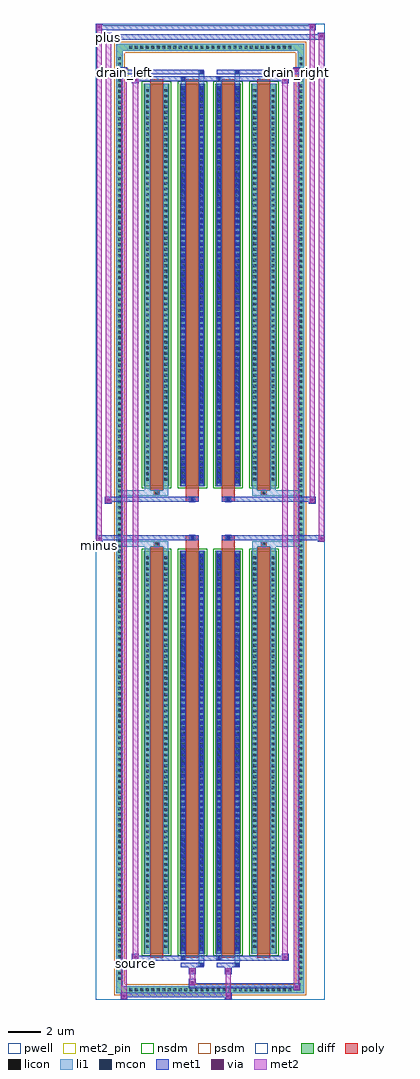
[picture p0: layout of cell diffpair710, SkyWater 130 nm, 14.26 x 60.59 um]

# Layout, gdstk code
import gdstk
lib = gdstk.Library(unit=1e-6, precision=5e-09)
def R(c, l, rs):  # rectangles x0, y0, x1, y1
    for r in rs: c.add(gdstk.rectangle(r[:2], r[2:], *l))
def A(c, l, x, y, w, h, nx, ny, dx, dy):  # array of equal rectangles
    R(c, l, [(x+i*dx, y+j*dy, x+i*dx+w, y+j*dy+h) for i in range(nx) for j in range(ny)])
def P(c, l, *ps):  # polygons
    for p in ps: c.add(gdstk.Polygon(p, *l))
pwell = (64, 44)
diff = (65, 20)
poly = (66, 20)
licon = (66, 44)
li1 = (67, 20)
mcon = (67, 44)
met1 = (68, 20)
via = (68, 44)
met2_pin = (69, 16)
met2 = (69, 20)
nsdm = (93, 44)
psdm = (94, 20)
npc = (95, 20)

diffpair710 = lib.new_cell('diffpair710')
R(diffpair710, pwell, [(-7.11,-29.86,7.11,30.73), (-4.43,-28.05,-0.01,-0.825), (0.01,-28.05,4.43,-0.825), (-4.43,0.825,-0.01,28.05), (0.01,0.825,4.43,28.05)])
A(diffpair710, diff, -5.135, -29.46, 0.41, 0.41, 30, 2, 0.34, 58.51)
A(diffpair710, diff, -5.84, -28.765, 0.41, 0.41, 1, 169, 0, 0.34)
A(diffpair710, diff, 5.43, -28.765, 0.41, 0.41, 1, 169, 0, 0.34)
A(diffpair710, diff, -4.12, -27.005, 1.58, 25, 4, 2, 2.22, 29.01)
R(diffpair710, diff, [(-5.135,-29.46,5.135,-29.05), (-5.84,-28.765,-5.43,28.765), (5.43,-28.765,5.84,28.765), (-5.135,29.05,5.135,29.46)])
P(diffpair710, diff, [(5.84,29.46),(-5.84,29.46),(-5.84,-29.05),(-5.43,-29.05),(-5.43,29.05),(5.43,29.05),(5.43,-29.05),(-5.43,-29.05),(-5.84,-29.05),(-5.84,-29.46),(5.84,-29.46)])
A(diffpair710, poly, -3.73, -27.255, 0.8, 25.5, 4, 2, 2.22, 29.01)
R(diffpair710, poly, [(-3.495,-1.755,-3.165,-1.425), (-3.495,-1.755,-3.165,-1.425), (-1.51,-1.755,-0.71,-1.355), (0.71,-1.755,1.51,-1.355), (3.165,-1.755,3.495,-1.425), (3.165,-1.755,3.495,-1.425), (-1.51,-1.355,-0.71,-1.025), (-1.275,-1.355,-0.945,-1.025), (0.71,-1.355,1.51,-1.025), (0.945,-1.355,1.275,-1.025), (-1.51,1.025,-0.71,1.355), (-1.275,1.025,-0.945,1.355), (0.71,1.025,1.51,1.355), (0.945,1.025,1.275,1.355), (-1.51,1.355,-0.71,1.755), (0.71,1.355,1.51,1.755), (-3.495,1.425,-3.165,1.755), (-3.495,1.425,-3.165,1.755), (3.165,1.425,3.495,1.755), (3.165,1.425,3.495,1.755)])
A(diffpair710, licon, -5.015, -29.34, 0.17, 0.17, 30, 2, 0.34, 58.51)
A(diffpair710, licon, -5.72, -28.645, 0.17, 0.17, 1, 169, 0, 0.34)
A(diffpair710, licon, 5.55, -28.645, 0.17, 0.17, 1, 169, 0, 0.34)
A(diffpair710, licon, -3.98, -26.66, 0.17, 0.17, 1, 72, 0, 0.34)
A(diffpair710, licon, -2.85, -26.66, 0.17, 0.17, 1, 72, 0, 0.34)
A(diffpair710, licon, -1.76, -26.66, 0.17, 0.17, 1, 72, 0, 0.34)
A(diffpair710, licon, -0.63, -26.66, 0.17, 0.17, 1, 72, 0, 0.34)
A(diffpair710, licon, 0.46, -26.66, 0.17, 0.17, 1, 72, 0, 0.34)
A(diffpair710, licon, 1.59, -26.66, 0.17, 0.17, 1, 72, 0, 0.34)
A(diffpair710, licon, 2.68, -26.66, 0.17, 0.17, 1, 72, 0, 0.34)
A(diffpair710, licon, 3.81, -26.66, 0.17, 0.17, 1, 72, 0, 0.34)
A(diffpair710, licon, -3.98, 2.35, 0.17, 0.17, 1, 72, 0, 0.34)
A(diffpair710, licon, -2.85, 2.35, 0.17, 0.17, 1, 72, 0, 0.34)
A(diffpair710, licon, -1.76, 2.35, 0.17, 0.17, 1, 72, 0, 0.34)
A(diffpair710, licon, -0.63, 2.35, 0.17, 0.17, 1, 72, 0, 0.34)
A(diffpair710, licon, 0.46, 2.35, 0.17, 0.17, 1, 72, 0, 0.34)
A(diffpair710, licon, 1.59, 2.35, 0.17, 0.17, 1, 72, 0, 0.34)
A(diffpair710, licon, 2.68, 2.35, 0.17, 0.17, 1, 72, 0, 0.34)
A(diffpair710, licon, 3.81, 2.35, 0.17, 0.17, 1, 72, 0, 0.34)
R(diffpair710, licon, [(-3.415,-1.675,-3.245,-1.505), (3.245,-1.675,3.415,-1.505), (-1.195,-1.275,-1.025,-1.105), (1.025,-1.275,1.195,-1.105), (-1.195,1.105,-1.025,1.275), (1.025,1.105,1.195,1.275), (-3.415,1.505,-3.245,1.675), (3.245,1.505,3.415,1.675)])
A(diffpair710, li1, -5.095, -29.42, 0.33, 0.33, 30, 2, 0.34, 58.51)
A(diffpair710, li1, -5.8, -28.725, 0.33, 0.33, 1, 169, 0, 0.34)
A(diffpair710, li1, 5.47, -28.725, 0.33, 0.33, 1, 169, 0, 0.34)
A(diffpair710, li1, -1.76, -26.83, 0.17, 0.17, 1, 69, 0, 0.36)
A(diffpair710, li1, -0.63, -26.83, 0.17, 0.17, 1, 69, 0, 0.36)
A(diffpair710, li1, 0.46, -26.83, 0.17, 0.17, 1, 69, 0, 0.36)
A(diffpair710, li1, 1.59, -26.83, 0.17, 0.17, 1, 69, 0, 0.36)
A(diffpair710, li1, -4.06, -26.74, 0.33, 0.33, 1, 72, 0, 0.34)
A(diffpair710, li1, -2.93, -26.74, 0.33, 0.33, 1, 72, 0, 0.34)
A(diffpair710, li1, -1.84, -26.74, 0.33, 0.33, 1, 72, 0, 0.34)
A(diffpair710, li1, -0.71, -26.74, 0.33, 0.33, 1, 72, 0, 0.34)
A(diffpair710, li1, 0.38, -26.74, 0.33, 0.33, 1, 72, 0, 0.34)
A(diffpair710, li1, 1.51, -26.74, 0.33, 0.33, 1, 72, 0, 0.34)
A(diffpair710, li1, 2.6, -26.74, 0.33, 0.33, 1, 72, 0, 0.34)
A(diffpair710, li1, 3.73, -26.74, 0.33, 0.33, 1, 72, 0, 0.34)
A(diffpair710, li1, -1.76, 2.18, 0.17, 0.17, 1, 69, 0, 0.36)
A(diffpair710, li1, -0.63, 2.18, 0.17, 0.17, 1, 69, 0, 0.36)
A(diffpair710, li1, 0.46, 2.18, 0.17, 0.17, 1, 69, 0, 0.36)
A(diffpair710, li1, 1.59, 2.18, 0.17, 0.17, 1, 69, 0, 0.36)
A(diffpair710, li1, -4.06, 2.27, 0.33, 0.33, 1, 72, 0, 0.34)
A(diffpair710, li1, -2.93, 2.27, 0.33, 0.33, 1, 72, 0, 0.34)
A(diffpair710, li1, -1.84, 2.27, 0.33, 0.33, 1, 72, 0, 0.34)
A(diffpair710, li1, -0.71, 2.27, 0.33, 0.33, 1, 72, 0, 0.34)
A(diffpair710, li1, 0.38, 2.27, 0.33, 0.33, 1, 72, 0, 0.34)
A(diffpair710, li1, 1.51, 2.27, 0.33, 0.33, 1, 72, 0, 0.34)
A(diffpair710, li1, 2.6, 2.27, 0.33, 0.33, 1, 72, 0, 0.34)
A(diffpair710, li1, 3.73, 2.27, 0.33, 0.33, 1, 72, 0, 0.34)
R(diffpair710, li1, [(-5.84,-29.46,-5.43,-29.05), (-5.84,-29.46,-5.43,-29.05), (-5.43,-29.46,5.43,-29.05), (5.43,-29.46,5.84,-29.05), (5.43,-29.46,5.84,-29.05), (-5.84,-29.05,-5.43,29.05), (5.43,-29.05,5.84,29.05), (-0.71,-27.81,-0.38,-27.005), (-0.63,-27.81,-0.46,-27.64), (1.51,-27.81,1.84,-27.005), (1.59,-27.81,1.76,-27.64), (-1.84,-27.38,-1.51,-27.005), (-1.76,-27.38,-1.59,-27.21), (0.38,-27.38,0.71,-27.005), (0.46,-27.38,0.63,-27.21), (-4.06,-27.005,-3.73,-2.005), (-2.93,-27.005,-2.6,-2.005), (-1.84,-27.005,-1.51,-2.005), (-0.71,-27.005,-0.38,-2.005), (0.38,-27.005,0.71,-2.005), (1.51,-27.005,1.84,-2.005), (2.6,-27.005,2.93,-2.005), (3.73,-27.005,4.06,-2.005), (-1.76,-26.83,-1.59,-2.18), (-0.63,-26.83,-0.46,-2.18), (0.46,-26.83,0.63,-2.18), (1.59,-26.83,1.76,-2.18), (-4.06,-2.005,-3.73,-1.425), (-2.93,-2.005,-2.6,-1.425), (2.6,-2.005,2.93,-1.425), (3.73,-2.005,4.06,-1.425), (-5.84,-1.755,-3.495,-1.425), (-4.06,-1.755,-3.495,-1.425), (-3.495,-1.755,-3.165,-1.425), (-3.165,-1.755,-2.6,-1.425), (2.6,-1.755,3.165,-1.425), (3.165,-1.755,3.495,-1.425), (3.165,-1.755,5.84,-1.425), (3.495,-1.755,4.06,-1.425), (-1.275,-1.355,-0.945,-1.025), (0.945,-1.355,1.275,-1.025), (-1.275,1.025,-0.945,1.355), (0.945,1.025,1.275,1.355), (-5.84,1.425,-3.495,1.755), (-4.06,1.425,-3.495,1.755), (-4.06,1.425,-3.73,2.005), (-3.495,1.425,-3.165,1.755), (-3.165,1.425,-2.6,1.755), (-2.93,1.425,-2.6,2.005), (2.6,1.425,3.165,1.755), (2.6,1.425,2.93,2.005), (3.165,1.425,3.495,1.755), (3.165,1.425,5.84,1.755), (3.495,1.425,4.06,1.755), (3.73,1.425,4.06,2.005), (-4.06,2.005,-3.73,27.005), (-2.93,2.005,-2.6,27.005), (-1.84,2.005,-1.51,27.005), (-0.71,2.005,-0.38,27.005), (0.38,2.005,0.71,27.005), (1.51,2.005,1.84,27.005), (2.6,2.005,2.93,27.005), (3.73,2.005,4.06,27.005), (-1.76,2.18,-1.59,26.83), (-0.63,2.18,-0.46,26.83), (0.46,2.18,0.63,26.83), (1.59,2.18,1.76,26.83), (-1.84,27.005,-1.51,27.38), (-0.71,27.005,-0.38,27.81), (0.38,27.005,0.71,27.38), (1.51,27.005,1.84,27.81), (-1.76,27.21,-1.59,27.38), (0.46,27.21,0.63,27.38), (-0.63,27.64,-0.46,27.81), (1.59,27.64,1.76,27.81), (-5.84,29.05,-5.43,29.46), (-5.84,29.05,-5.43,29.46), (-5.43,29.05,5.43,29.46), (5.43,29.05,5.84,29.46), (5.43,29.05,5.84,29.46)])
A(diffpair710, mcon, -1.76, -26.83, 0.17, 0.17, 1, 69, 0, 0.36)
A(diffpair710, mcon, -0.63, -26.83, 0.17, 0.17, 1, 69, 0, 0.36)
A(diffpair710, mcon, 0.46, -26.83, 0.17, 0.17, 1, 69, 0, 0.36)
A(diffpair710, mcon, 1.59, -26.83, 0.17, 0.17, 1, 69, 0, 0.36)
A(diffpair710, mcon, -1.76, 2.18, 0.17, 0.17, 1, 69, 0, 0.36)
A(diffpair710, mcon, -0.63, 2.18, 0.17, 0.17, 1, 69, 0, 0.36)
A(diffpair710, mcon, 0.46, 2.18, 0.17, 0.17, 1, 69, 0, 0.36)
A(diffpair710, mcon, 1.59, 2.18, 0.17, 0.17, 1, 69, 0, 0.36)
R(diffpair710, mcon, [(-0.63,-27.81,-0.46,-27.64), (1.59,-27.81,1.76,-27.64), (-1.76,-27.38,-1.59,-27.21), (0.46,-27.38,0.63,-27.21), (-1.195,-1.275,-1.025,-1.105), (1.025,-1.275,1.195,-1.105), (-1.195,1.105,-1.025,1.275), (1.025,1.105,1.195,1.275), (-1.76,27.21,-1.59,27.38), (0.46,27.21,0.63,27.38), (-0.63,27.64,-0.46,27.81), (1.59,27.64,1.76,27.81)])
A(diffpair710, met1, -1.82, -26.89, 0.29, 0.29, 1, 69, 0, 0.36)
A(diffpair710, met1, -0.69, -26.89, 0.29, 0.29, 1, 69, 0, 0.36)
A(diffpair710, met1, 0.4, -26.89, 0.29, 0.29, 1, 69, 0, 0.36)
A(diffpair710, met1, 1.53, -26.89, 0.29, 0.29, 1, 69, 0, 0.36)
A(diffpair710, met1, -1.82, 2.12, 0.29, 0.29, 1, 69, 0, 0.36)
A(diffpair710, met1, -0.69, 2.12, 0.29, 0.29, 1, 69, 0, 0.36)
A(diffpair710, met1, 0.4, 2.12, 0.29, 0.29, 1, 69, 0, 0.36)
A(diffpair710, met1, 1.53, 2.12, 0.29, 0.29, 1, 69, 0, 0.36)
R(diffpair710, met1, [(-5.57,-29.86,-5.14,-29.43), (0.895,-29.86,1.325,-29.43), (-5.57,-29.72,1.325,-29.43), (5.14,-29.29,5.57,-28.86), (-1.325,-29.15,5.57,-28.86), (-1.325,-29.01,-0.895,-28.58), (-1.325,-28.3,-0.895,-27.87), (0.895,-28.3,1.325,-27.87), (-1.82,-27.87,-0.4,-27.58), (-0.69,-27.87,-0.4,-27.58), (0.4,-27.87,1.82,-27.58), (1.53,-27.87,1.82,-27.58), (-4.86,-27.44,-4.43,-27.01), (-4.86,-27.44,-1.82,-27.15), (-1.82,-27.44,-1.53,-27.15), (-1.82,-27.44,-0.4,-27.15), (-0.4,-27.44,0.4,-27.15), (0.4,-27.44,0.69,-27.15), (0.4,-27.44,1.82,-27.15), (1.82,-27.44,4.86,-27.15), (4.43,-27.44,4.86,-27.01), (-1.82,-27.005,-1.53,-2.005), (-0.69,-27.005,-0.4,-2.005), (0.4,-27.005,0.69,-2.005), (1.53,-27.005,1.82,-2.005), (-7.11,-1.455,-6.68,-1.025), (6.68,-1.455,7.11,-1.025), (-7.11,-1.355,-0.71,-1.025), (-1.51,-1.355,-0.71,-1.025), (0.71,-1.355,1.51,-1.025), (0.71,-1.355,7.11,-1.025), (-1.255,-1.335,-0.965,-1.045), (0.965,-1.335,1.255,-1.045), (-6.54,0.925,-6.11,1.355), (6.11,0.925,6.54,1.355), (-6.54,1.025,-1.51,1.355), (-1.51,1.025,-0.71,1.355), (0.71,1.025,1.51,1.355), (1.51,1.025,6.54,1.355), (-1.255,1.045,-0.965,1.335), (0.965,1.045,1.255,1.335), (-1.82,2.005,-1.53,27.005), (-0.69,2.005,-0.4,27.005), (0.4,2.005,0.69,27.005), (1.53,2.005,1.82,27.005), (-4.86,27.01,-4.43,27.44), (4.43,27.01,4.86,27.44), (-4.86,27.15,-1.82,27.44), (-1.82,27.15,-1.53,27.44), (-1.82,27.15,-0.4,27.44), (-0.4,27.15,0.4,27.44), (0.4,27.15,0.69,27.44), (0.4,27.15,1.82,27.44), (1.82,27.15,4.86,27.44), (-5.57,27.58,-5.14,28.01), (-5.57,27.58,-1.82,27.87), (-1.82,27.58,-0.4,27.87), (-0.69,27.58,-0.4,27.87), (0.4,27.58,1.82,27.87), (1.53,27.58,1.82,27.87), (1.82,27.58,5.57,27.87), (5.14,27.58,5.57,28.01), (-6.54,29.73,-6.11,30.16), (-6.54,29.73,-4.43,30.06), (-4.43,29.73,4.43,30.06), (4.43,29.73,7.11,30.06), (6.68,29.73,7.11,30.16), (-7.11,30.3,-6.68,30.73), (-7.11,30.3,-4.43,30.63), (-4.43,30.3,4.43,30.63), (4.43,30.3,6.54,30.63), (6.11,30.3,6.54,30.73)])
R(diffpair710, via, [(-5.43,-29.72,-5.28,-29.57), (1.035,-29.72,1.185,-29.57), (5.28,-29.15,5.43,-29), (-1.185,-28.87,-1.035,-28.72), (-1.185,-28.16,-1.035,-28.01), (1.035,-28.16,1.185,-28.01), (-4.72,-27.3,-4.57,-27.15), (4.57,-27.3,4.72,-27.15), (-6.97,-1.315,-6.82,-1.165), (6.82,-1.315,6.97,-1.165), (-6.4,1.065,-6.25,1.215), (6.25,1.065,6.4,1.215), (-4.72,27.15,-4.57,27.3), (4.57,27.15,4.72,27.3), (-5.43,27.72,-5.28,27.87), (5.28,27.72,5.43,27.87), (-6.4,29.87,-6.25,30.02), (6.82,29.87,6.97,30.02), (-6.97,30.44,-6.82,30.59), (6.25,30.44,6.4,30.59)])
R(diffpair710, met2_pin, [(-4.895,-27.89,-4.395,-27.39), (-7.145,-1.905,-6.645,-1.405), (-5.605,27.46,-5.105,27.96), (5.105,27.46,5.605,27.96), (-6.575,29.61,-6.075,30.11)])
R(diffpair710, met2, [(-5.52,-29.81,-5.19,-29.48), (-5.52,-29.81,-5.19,27.96), (0.945,-29.81,1.275,-29.48), (0.945,-29.48,1.275,-28.25), (5.19,-29.24,5.52,-28.91), (5.19,-29.24,5.52,27.96), (-1.275,-28.96,-0.945,-28.63), (-1.275,-28.63,-0.945,-28.25), (-1.275,-28.25,-0.945,-27.92), (0.945,-28.25,1.275,-27.92), (-4.81,-27.39,-4.48,-27.06), (-4.81,-27.39,-4.48,27.39), (4.48,-27.39,4.81,-27.06), (4.48,-27.39,4.81,27.39), (-7.06,-1.405,-6.73,-1.075), (-7.06,-1.405,-6.73,30.68), (6.73,-1.405,7.06,-1.075), (6.73,-1.405,7.06,30.11), (-6.49,0.975,-6.16,1.305), (-6.49,0.975,-6.16,30.11), (6.16,0.975,6.49,1.305), (6.16,0.975,6.49,30.68), (-4.81,27.06,-4.48,27.39), (4.48,27.06,4.81,27.39), (-5.52,27.63,-5.19,27.96), (5.19,27.63,5.52,27.96), (-6.49,29.78,-6.16,30.11), (6.73,29.78,7.06,30.11), (-7.06,30.35,-6.73,30.68), (6.16,30.35,6.49,30.68)])
P(diffpair710, met2, [(7.06,-1.405),(7.06,-1.405),(7.06,-1.075),(7.06,-1.075)],
  [(7.06,29.78),(7.06,29.78),(7.06,30.11),(7.06,30.11)],
  [(-6.73,-1.405),(-6.73,-1.405),(-6.73,-1.075),(-6.73,-1.075)],
  [(-6.73,30.35),(-6.73,30.35),(-6.73,30.68),(-6.73,30.68)],
  [(6.49,0.975),(6.49,0.975),(6.49,1.305),(6.49,1.305)],
  [(6.49,30.35),(6.49,30.35),(6.49,30.68),(6.49,30.68)],
  [(-6.16,0.975),(-6.16,0.975),(-6.16,1.305),(-6.16,1.305)],
  [(-6.16,29.78),(-6.16,29.78),(-6.16,30.11),(-6.16,30.11)],
  [(-5.19,-29.81),(-5.19,-29.81),(-5.19,-29.48),(-5.19,-29.48)],
  [(-5.19,27.63),(-5.19,27.63),(-5.19,27.96),(-5.19,27.96)],
  [(5.52,-29.24),(5.52,-29.24),(5.52,-28.91),(5.52,-28.91)],
  [(5.52,27.63),(5.52,27.63),(5.52,27.96),(5.52,27.96)],
  [(-4.48,-27.39),(-4.48,-27.39),(-4.48,-27.06),(-4.48,-27.06)],
  [(-4.48,27.06),(-4.48,27.06),(-4.48,27.39),(-4.48,27.39)],
  [(4.81,-27.39),(4.81,-27.39),(4.81,-27.06),(4.81,-27.06)],
  [(4.81,27.06),(4.81,27.06),(4.81,27.39),(4.81,27.39)])
A(diffpair710, nsdm, -4.25, -27.135, 1.84, 25.26, 4, 2, 2.22, 29.01)
P(diffpair710, psdm, [(5.97,29.59),(-5.97,29.59),(-5.97,-28.92),(-5.3,-28.92),(-5.3,28.92),(5.3,28.92),(5.3,-28.92),(-5.3,-28.92),(-5.97,-28.92),(-5.97,-29.59),(5.97,-29.59)])
R(diffpair710, npc, [(-3.515,-1.775,-3.145,-1.405), (3.145,-1.775,3.515,-1.405), (-1.295,-1.375,-0.925,-1.005), (0.925,-1.375,1.295,-1.005), (-1.295,1.005,-0.925,1.375), (0.925,1.005,1.295,1.375), (-3.515,1.405,-3.145,1.775), (3.145,1.405,3.515,1.775)])
diffpair710.add(gdstk.Label('minus', (-6.895,-1.655), layer=69, texttype=5))
diffpair710.add(gdstk.Label('drain_right', (5.355,27.71), layer=69, texttype=5))
diffpair710.add(gdstk.Label('drain_left', (-5.355,27.71), layer=69, texttype=5))
diffpair710.add(gdstk.Label('source', (-4.645,-27.64), layer=69, texttype=5))
diffpair710.add(gdstk.Label('plus', (-6.325,29.86), layer=69, texttype=5))

lib.write_gds('diffpair710.gds')
